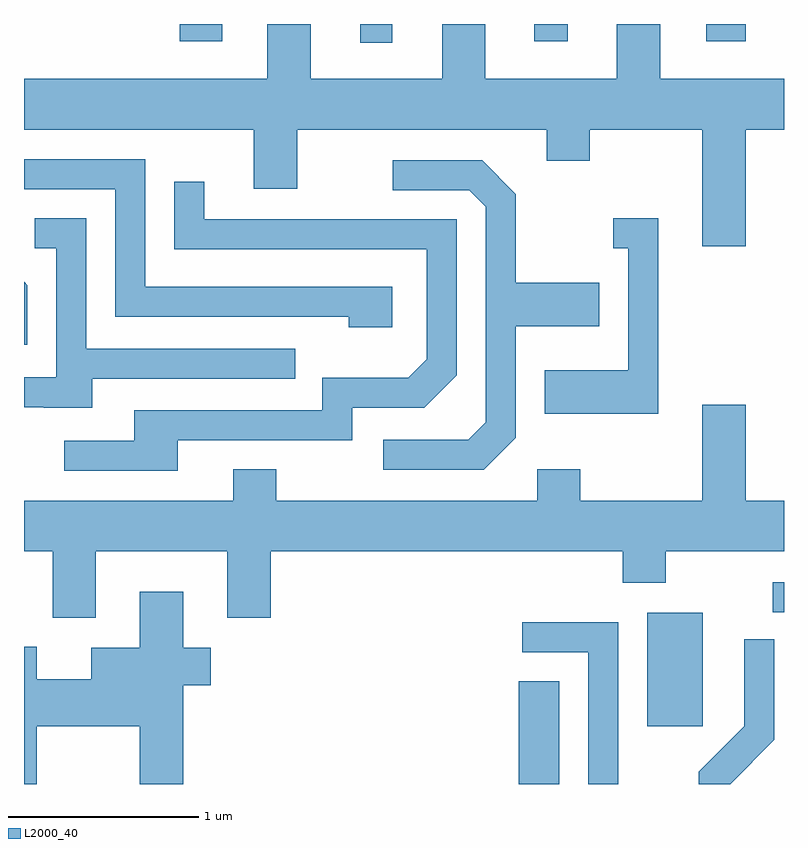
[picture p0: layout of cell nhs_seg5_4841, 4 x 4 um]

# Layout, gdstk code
import gdstk
lib = gdstk.Library(unit=1e-6, precision=1e-09)
def R(c, l, rs):  # rectangles x0, y0, x1, y1
    for r in rs: c.add(gdstk.rectangle(r[:2], r[2:], *l))
def P(c, l, *ps):  # polygons
    for p in ps: c.add(gdstk.Polygon(p, *l))
L2000_40 = (2000, 40)

nhs_seg5_4841 = lib.new_cell('nhs_seg5_4841')
R(nhs_seg5_4841, L2000_40, [(332.216,1400.072,332.429,1400.614), (332.891,1400.376,333.184,1400.974), (333.553,1400.976,333.611,1401.134), (331.381,1403.973,331.549,1404.072), (330.431,1403.981,330.654,1404.072), (332.296,1403.981,332.474,1404.072), (333.201,1403.981,333.409,1404.072)])
P(nhs_seg5_4841, L2000_40, [(333.409,1403.516),(333.611,1403.516),(333.611,1403.784),(332.959,1403.784),(332.959,1404.072),(332.731,1404.072),(332.731,1403.784),(332.039,1403.784),(332.039,1404.072),(331.811,1404.072),(331.811,1403.784),(331.119,1403.784),(331.119,1404.072),(330.891,1404.072),(330.891,1403.784),(329.611,1403.784),(329.611,1403.516),(330.821,1403.516),(330.821,1403.206),(331.049,1403.206),(331.049,1403.516),(332.361,1403.516),(332.361,1403.351),(332.589,1403.351),(332.589,1403.516),(333.181,1403.516),(333.181,1402.901),(333.409,1402.901)],
  [(331.549,1402.689),(330.249,1402.689),(330.249,1403.359),(329.611,1403.359),(329.611,1403.201),(330.091,1403.201),(330.091,1402.531),(331.321,1402.531),(331.321,1402.476),(331.549,1402.476)],
  [(332.199,1401.894),(332.199,1402.481),(332.639,1402.481),(332.639,1402.709),(332.199,1402.709),(332.199,1403.177),(332.022,1403.354),(331.553,1403.354),(331.553,1403.196),(331.954,1403.196),(332.041,1403.109),(332.041,1401.977),(331.949,1401.884),(331.503,1401.884),(331.503,1401.726),(332.032,1401.726)],
  [(330.419,1401.881),(331.339,1401.881),(331.339,1402.051),(331.717,1402.051),(331.889,1402.224),(331.889,1403.044),(330.559,1403.044),(330.559,1403.243),(330.401,1403.243),(330.401,1402.886),(331.731,1402.886),(331.731,1402.307),(331.634,1402.209),(331.181,1402.209),(331.181,1402.039),(330.191,1402.039),(330.191,1401.879),(329.823,1401.879),(329.823,1401.721),(330.419,1401.721)],
  [(332.949,1403.049),(332.713,1403.049),(332.713,1402.891),(332.791,1402.891),(332.791,1402.249),(332.351,1402.249),(332.351,1402.021),(332.949,1402.021)],
  [(329.969,1402.206),(331.038,1402.206),(331.038,1402.364),(329.939,1402.364),(329.939,1403.049),(329.668,1403.049),(329.668,1402.891),(329.781,1402.891),(329.781,1402.214),(329.611,1402.214),(329.611,1402.056),(329.715,1402.056),(329.715,1402.051),(329.969,1402.051)],
  [(329.629,1402.697),(329.611,1402.715),(329.611,1402.383),(329.629,1402.383)],
  [(329.989,1401.296),(330.681,1401.296),(330.681,1400.946),(330.909,1400.946),(330.909,1401.296),(332.761,1401.296),(332.761,1401.131),(332.989,1401.131),(332.989,1401.296),(333.611,1401.296),(333.611,1401.564),(333.409,1401.564),(333.409,1402.069),(333.181,1402.069),(333.181,1401.564),(332.539,1401.564),(332.539,1401.729),(332.311,1401.729),(332.311,1401.564),(330.939,1401.564),(330.939,1401.729),(330.711,1401.729),(330.711,1401.564),(329.611,1401.564),(329.611,1401.296),(329.761,1401.296),(329.761,1400.946),(329.989,1400.946)],
  [(329.679,1400.376),(330.221,1400.376),(330.221,1400.072),(330.449,1400.072),(330.449,1400.591),(330.594,1400.591),(330.594,1400.789),(330.449,1400.789),(330.449,1401.084),(330.221,1401.084),(330.221,1400.789),(329.966,1400.789),(329.966,1400.624),(329.679,1400.624),(329.679,1400.794),(329.611,1400.794),(329.611,1400.072),(329.679,1400.072)],
  [(332.739,1400.924),(332.233,1400.924),(332.233,1400.766),(332.581,1400.766),(332.581,1400.072),(332.739,1400.072)],
  [(333.559,1400.304),(333.559,1400.833),(333.401,1400.833),(333.401,1400.377),(333.161,1400.137),(333.161,1400.072),(333.327,1400.072)])

lib.write_gds('nhs_seg5_4841.gds')
